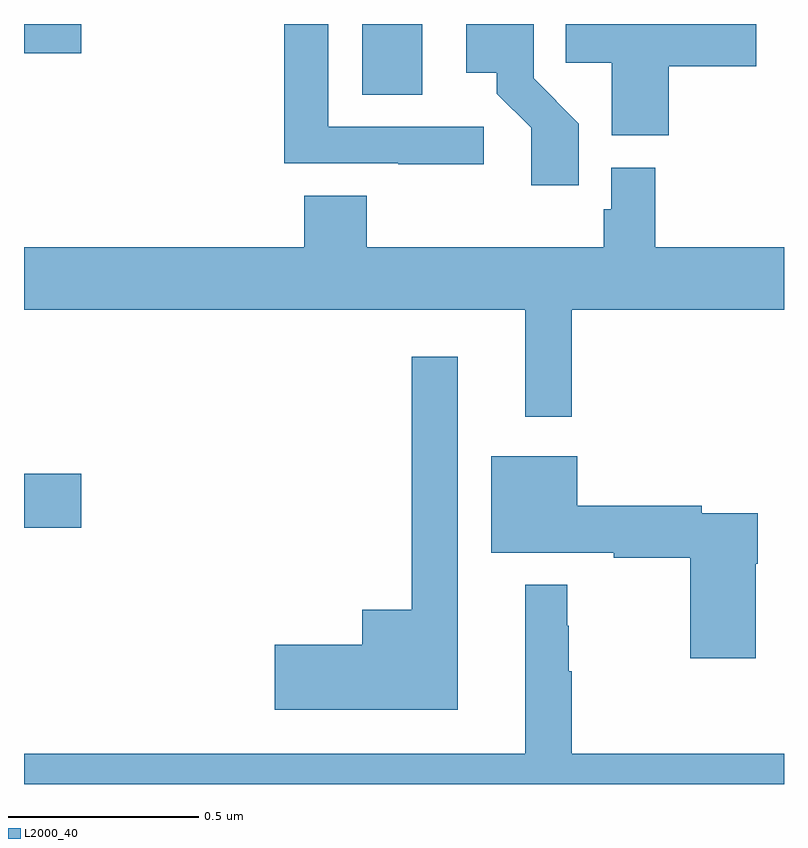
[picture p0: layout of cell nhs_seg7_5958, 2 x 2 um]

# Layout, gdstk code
import gdstk
lib = gdstk.Library(unit=1e-6, precision=1e-09)
def R(c, l, rs):  # rectangles x0, y0, x1, y1
    for r in rs: c.add(gdstk.rectangle(r[:2], r[2:], *l))
def P(c, l, *ps):  # polygons
    for p in ps: c.add(gdstk.Polygon(p, *l))
L2000_40 = (2000, 40)

nhs_seg7_5958 = lib.new_cell('nhs_seg7_5958')
R(nhs_seg7_5958, L2000_40, [(192,1034.675,192.151,1034.817), (192.89,1035.814,193.048,1036), (192,1035.923,192.151,1036)])
P(nhs_seg7_5958, L2000_40, [(193.21,1035.729),(192.801,1035.729),(192.801,1036),(192.685,1036),(192.685,1035.633),(192.985,1035.633),(192.985,1035.631),(193.21,1035.631)],
  [(193.697,1035.889),(193.927,1035.889),(193.927,1036),(193.426,1036),(193.426,1035.898),(193.547,1035.898),(193.547,1035.707),(193.697,1035.707)],
  [(193.46,1035.738),(193.341,1035.857),(193.341,1036),(193.164,1036),(193.164,1035.872),(193.244,1035.872),(193.244,1035.817),(193.335,1035.727),(193.335,1035.576),(193.46,1035.576)],
  [(193.441,1035.248),(194,1035.248),(194,1035.412),(193.661,1035.412),(193.661,1035.622),(193.545,1035.622),(193.545,1035.513),(193.525,1035.513),(193.525,1035.412),(192.902,1035.412),(192.902,1035.548),(192.737,1035.548),(192.737,1035.412),(192,1035.412),(192,1035.248),(193.319,1035.248),(193.319,1034.967),(193.441,1034.967)],
  [(193.141,1035.124),(193.02,1035.124),(193.02,1034.458),(192.89,1034.458),(192.89,1034.366),(192.66,1034.366),(192.66,1034.195),(193.141,1034.195)],
  [(193.926,1034.579),(193.931,1034.579),(193.931,1034.712),(193.784,1034.712),(193.784,1034.732),(193.456,1034.732),(193.456,1034.863),(193.229,1034.863),(193.229,1034.609),(193.552,1034.609),(193.552,1034.596),(193.753,1034.596),(193.753,1034.331),(193.926,1034.331)],
  [(194,1034.08),(193.441,1034.08),(193.441,1034.297),(193.433,1034.297),(193.433,1034.417),(193.43,1034.417),(193.43,1034.524),(193.319,1034.524),(193.319,1034.08),(192,1034.08),(192,1034),(194,1034)])

lib.write_gds('nhs_seg7_5958.gds')
